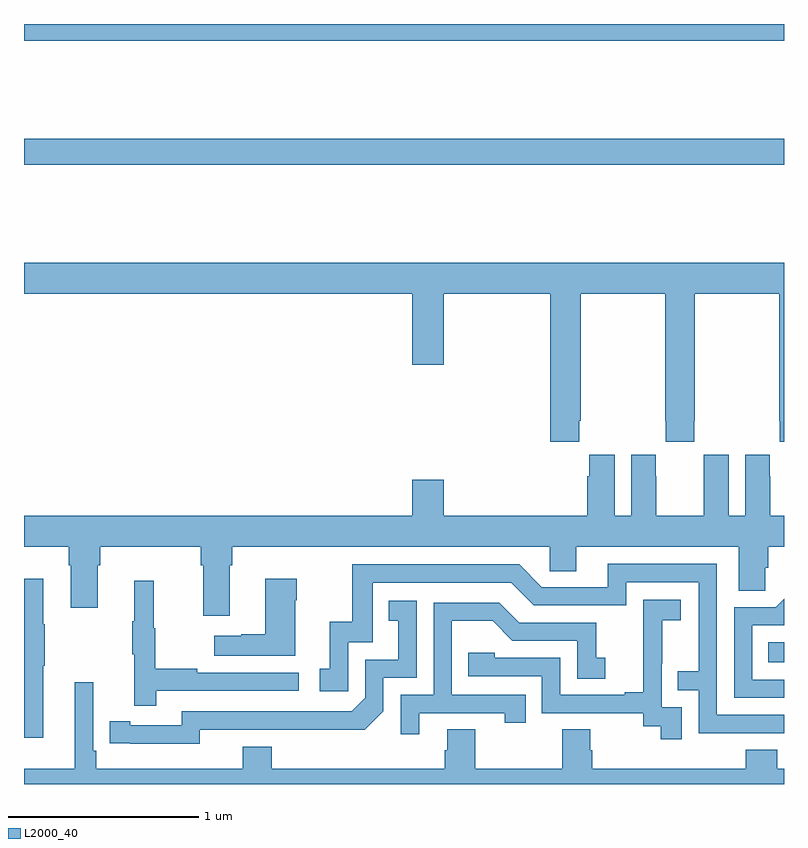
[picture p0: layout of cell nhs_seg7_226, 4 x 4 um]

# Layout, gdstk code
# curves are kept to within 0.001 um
import gdstk
lib = gdstk.Library(unit=1e-6, precision=1e-09)
def R(c, l, rs):  # rectangles x0, y0, x1, y1
    for r in rs: c.add(gdstk.rectangle(r[:2], r[2:], *l))
def P(c, l, *ps):  # polygons
    for p in ps: c.add(gdstk.Polygon(p, *l))
L2000_40 = (2000, 40)

nhs_seg7_226 = lib.new_cell('nhs_seg7_226')
R(nhs_seg7_226, L2000_40, [(130.918,1034.642,131,1034.746), (127,1037.26,131,1037.396), (127,1037.912,131,1038)])
P(nhs_seg7_226, L2000_40, [(129.923,1035.913),(129.93,1035.913),(129.93,1036.58),(130.375,1036.58),(130.375,1035.913),(130.377,1035.913),(130.377,1035.801),(130.527,1035.801),(130.527,1035.913),(130.53,1035.913),(130.53,1036.58),(130.975,1036.58),(130.975,1035.913),(130.977,1035.913),(130.977,1035.801),(131,1035.801),(131,1036.744),(127,1036.744),(127,1036.58),(129.044,1036.58),(129.044,1036.206),(129.208,1036.206),(129.208,1036.58),(129.77,1036.58),(129.77,1035.801),(129.923,1035.801)],
  [(128.083,1035.152),(128.096,1035.152),(128.096,1035.248),(129.768,1035.248),(129.768,1035.121),(129.907,1035.121),(129.907,1035.248),(130.763,1035.248),(130.763,1035.016),(130.902,1035.016),(130.902,1035.139),(130.916,1035.139),(130.916,1035.248),(131,1035.248),(131,1035.412),(130.927,1035.412),(130.927,1035.62),(130.926,1035.62),(130.926,1035.733),(130.796,1035.733),(130.796,1035.412),(130.708,1035.412),(130.708,1035.733),(130.578,1035.733),(130.578,1035.62),(130.577,1035.62),(130.577,1035.412),(130.327,1035.412),(130.327,1035.62),(130.326,1035.62),(130.326,1035.733),(130.196,1035.733),(130.196,1035.412),(130.108,1035.412),(130.108,1035.733),(129.974,1035.733),(129.974,1035.62),(129.965,1035.62),(129.965,1035.412),(129.208,1035.412),(129.208,1035.601),(129.044,1035.601),(129.044,1035.412),(127,1035.412),(127,1035.248),(127.235,1035.248),(127.235,1035.152),(127.247,1035.152),(127.247,1034.928),(127.387,1034.928),(127.387,1035.152),(127.4,1035.152),(127.4,1035.248),(127.931,1035.248),(127.931,1035.152),(127.943,1035.152),(127.943,1034.886),(128.083,1034.886)],
  [(131,1034.364),(130.647,1034.364),(130.647,1035.159),(130.073,1035.159),(130.073,1035.036),(129.726,1035.036),(129.606,1035.156),(128.727,1035.156),(128.727,1034.853),(128.608,1034.853),(128.608,1034.607),(128.556,1034.607),(128.556,1034.487),(128.706,1034.487),(128.706,1034.745),(128.835,1034.745),(128.835,1035.06),(129.564,1035.06),(129.684,1034.94),(130.17,1034.94),(130.17,1035.063),(130.551,1035.063),(130.551,1034.594),(130.441,1034.594),(130.441,1034.493),(130.551,1034.493),(130.551,1034.268),(131,1034.268)],
  [(128.428,1034.966),(128.436,1034.966),(128.436,1035.079),(128.27,1035.079),(128.27,1034.789),(128.144,1034.789),(128.144,1034.779),(128.001,1034.779),(128.001,1034.675),(128.428,1034.675)],
  [(127.102,1034.623),(127.11,1034.623),(127.11,1034.84),(127.102,1034.84),(127.102,1035.079),(127,1035.079),(127,1034.244),(127.102,1034.244)],
  [(127.697,1034.49),(128.446,1034.49),(128.446,1034.586),(127.913,1034.586),(127.913,1034.606),(127.69,1034.606),(127.69,1034.82),(127.682,1034.82),(127.682,1035.07),(127.58,1035.07),(127.58,1034.857),(127.569,1034.857),(127.569,1034.683),(127.58,1034.683),(127.58,1034.412),(127.697,1034.412)],
  [(131,1034.55),(130.833,1034.55),(130.833,1034.835),(131,1034.835),(131,1034.975),(130.956,1034.931),(130.737,1034.931),(130.737,1034.454),(131,1034.454)],
  [(130.461,1034.403),(130.356,1034.403),(130.356,1034.632),(130.358,1034.632),(130.358,1034.861),(130.456,1034.861),(130.456,1034.971),(130.258,1034.971),(130.258,1034.765),(130.259,1034.765),(130.259,1034.482),(130.163,1034.482),(130.163,1034.469),(129.822,1034.469),(129.822,1034.664),(129.477,1034.664),(129.477,1034.691),(129.337,1034.691),(129.337,1034.568),(129.726,1034.568),(129.726,1034.373),(130.26,1034.373),(130.26,1034.305),(130.352,1034.305),(130.352,1034.235),(130.461,1034.235)],
  [(127.926,1034.286),(128.794,1034.285),(128.892,1034.382),(128.892,1034.559),(129.066,1034.559),(129.066,1034.965),(128.92,1034.965),(128.92,1034.859),(128.969,1034.859),(128.969,1034.655),(128.796,1034.655),(128.796,1034.454),(128.724,1034.382),(127.83,1034.382),(127.83,1034.31),(127.558,1034.31),(127.558,1034.33),(127.45,1034.33),(127.45,1034.214),(127.926,1034.213)],
  [(129.079,1034.373),(129.53,1034.373),(129.53,1034.322),(129.641,1034.322),(129.641,1034.469),(129.252,1034.469),(129.252,1034.858),(129.466,1034.858),(129.57,1034.754),(129.912,1034.754),(129.912,1034.555),(130.06,1034.555),(130.06,1034.665),(130.011,1034.665),(130.011,1034.85),(129.607,1034.85),(129.502,1034.955),(129.156,1034.955),(129.156,1034.469),(128.982,1034.469),(128.982,1034.262),(129.079,1034.262)],
  [(131,1034.08),(130.964,1034.08),(130.964,1034.179),(130.799,1034.179),(130.799,1034.08),(129.992,1034.08),(129.992,1034.178),(129.979,1034.178),(129.979,1034.288),(129.832,1034.288),(129.832,1034.08),(129.375,1034.08),(129.375,1034.288),(129.227,1034.288),(129.227,1034.178),(129.215,1034.178),(129.215,1034.08),(128.303,1034.08),(128.303,1034.197),(128.15,1034.197),(128.15,1034.08),(127.379,1034.08),(127.379,1034.176),(127.365,1034.176),(127.365,1034.536),(127.268,1034.536),(127.268,1034.08),(127,1034.08),(127,1034),(131,1034)])

lib.write_gds('nhs_seg7_226.gds')
